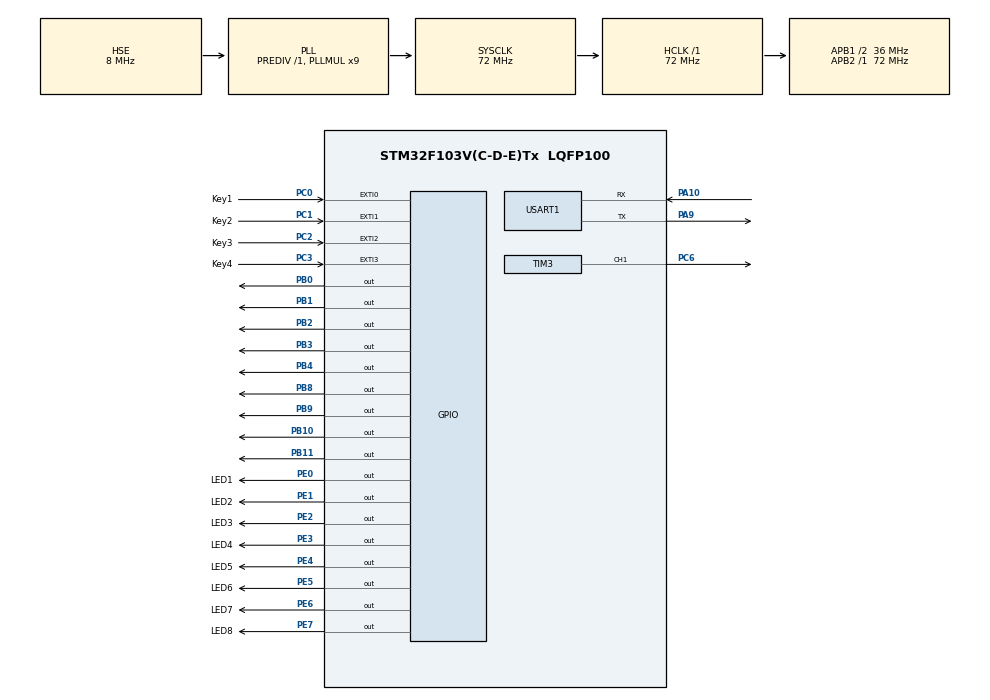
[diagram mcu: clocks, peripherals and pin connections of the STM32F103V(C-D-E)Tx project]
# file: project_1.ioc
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Dma.Request0=USART1_RX
Dma.Request1=USART1_TX
Dma.USART1_RX.0.Direction=DMA_PERIPH_TO_MEMORY
Dma.USART1_RX.0.Instance=DMA1_Channel5
Dma.USART1_RX.0.MemDataAlignment=DMA_MDATAALIGN_BYTE
Dma.USART1_RX.0.MemInc=DMA_MINC_ENABLE
Dma.USART1_RX.0.Mode=DMA_NORMAL
Dma.USART1_RX.0.PeriphDataAlignment=DMA_PDATAALIGN_BYTE
Dma.USART1_RX.0.PeriphInc=DMA_PINC_DISABLE
Dma.USART1_RX.0.Priority=DMA_PRIORITY_MEDIUM
Dma.USART1_TX.1.Direction=DMA_MEMORY_TO_PERIPH
Dma.USART1_TX.1.Instance=DMA1_Channel4
Dma.USART1_TX.1.MemDataAlignment=DMA_MDATAALIGN_BYTE
Dma.USART1_TX.1.MemInc=DMA_MINC_ENABLE
Dma.USART1_TX.1.Mode=DMA_NORMAL
Dma.USART1_TX.1.PeriphDataAlignment=DMA_PDATAALIGN_BYTE
Dma.USART1_TX.1.PeriphInc=DMA_PINC_DISABLE
Dma.USART1_TX.1.Priority=DMA_PRIORITY_MEDIUM
Mcu.Family=STM32F1
Mcu.Name=STM32F103V(C-D-E)Tx
Mcu.Package=LQFP100
NVIC.DMA1_Channel4_IRQn=true\:1\:1\:true\:false\:true\:false\:true\:true
NVIC.DMA1_Channel5_IRQn=true\:1\:1\:true\:false\:true\:false\:true\:true
NVIC.EXTI0_IRQn=true\:2\:2\:true\:false\:true\:true\:true\:true
NVIC.EXTI1_IRQn=true\:2\:2\:true\:false\:true\:true\:true\:true
NVIC.EXTI2_IRQn=true\:2\:2\:true\:false\:true\:true\:true\:true
NVIC.EXTI3_IRQn=true\:2\:2\:true\:false\:true\:true\:true\:true
NVIC.PriorityGroup=NVIC_PRIORITYGROUP_2
NVIC.TIM3_IRQn=true\:3\:3\:true\:false\:true\:true\:true\:true
NVIC.USART1_IRQn=true\:2\:2\:true\:false\:true\:true\:true\:true
OSC_IN.Mode=HSE-External-Oscillator
OSC_IN.Signal=RCC_OSC_IN
OSC_OUT.Mode=HSE-External-Oscillator
OSC_OUT.Signal=RCC_OSC_OUT
PA10.Mode=Asynchronous
PA10.Signal=USART1_RX
PA13.Mode=Serial_Wire
PA13.Signal=SYS_JTMS-SWDIO
PA14.Mode=Serial_Wire
PA14.Signal=SYS_JTCK-SWCLK
PA9.Mode=Asynchronous
PA9.Signal=USART1_TX
PB0.GPIO_Speed=GPIO_SPEED_FREQ_HIGH
PB0.Signal=GPIO_Output
PB1.GPIO_Speed=GPIO_SPEED_FREQ_HIGH
PB1.Signal=GPIO_Output
PB10.GPIO_Speed=GPIO_SPEED_FREQ_HIGH
PB10.Signal=GPIO_Output
PB11.GPIO_Speed=GPIO_SPEED_FREQ_HIGH
PB11.Signal=GPIO_Output
PB2.GPIO_Speed=GPIO_SPEED_FREQ_HIGH
PB2.Signal=GPIO_Output
PB3.GPIO_Speed=GPIO_SPEED_FREQ_HIGH
PB3.Signal=GPIO_Output
PB4.GPIO_Speed=GPIO_SPEED_FREQ_HIGH
PB4.Signal=GPIO_Output
PB8.GPIO_Speed=GPIO_SPEED_FREQ_HIGH
PB8.Signal=GPIO_Output
PB9.GPIO_Speed=GPIO_SPEED_FREQ_HIGH
PB9.Signal=GPIO_Output
PC0.GPIO_Label=Key1
PC0.GPIO_ModeDefaultEXTI=GPIO_MODE_IT_FALLING
PC0.Signal=GPXTI0
PC1.GPIO_Label=Key2
PC1.GPIO_ModeDefaultEXTI=GPIO_MODE_IT_FALLING
PC1.Signal=GPXTI1
PC2.GPIO_Label=Key3
PC2.GPIO_ModeDefaultEXTI=GPIO_MODE_IT_FALLING
PC2.Signal=GPXTI2
PC3.GPIO_Label=Key4
PC3.GPIO_ModeDefaultEXTI=GPIO_MODE_IT_FALLING
PC3.Signal=GPXTI3
PC6.Signal=S_TIM3_CH1
PE0.GPIO_Label=LED1
PE0.Signal=GPIO_Output
PE1.GPIO_Label=LED2
PE1.Signal=GPIO_Output
PE2.GPIO_Label=LED3
PE2.Signal=GPIO_Output
PE3.GPIO_Label=LED4
PE3.Signal=GPIO_Output
PE4.GPIO_Label=LED5
PE4.Signal=GPIO_Output
PE5.GPIO_Label=LED6
PE5.Signal=GPIO_Output
PE6.GPIO_Label=LED7
PE6.Signal=GPIO_Output
PE7.GPIO_Label=LED8
PE7.Signal=GPIO_Output
ProjectManager.HeapSize=0x200
ProjectManager.StackSize=0x400
ProjectManager.TargetToolchain=STM32CubeIDE
RCC.AHBFreq_Value=72000000
RCC.APB1CLKDivider=RCC_HCLK_DIV2
RCC.APB1Freq_Value=36000000
RCC.APB1TimFreq_Value=72000000
RCC.APB2Freq_Value=72000000
RCC.APB2TimFreq_Value=72000000
RCC.HCLKFreq_Value=72000000
RCC.PLLMUL=RCC_PLL_MUL9
RCC.PLLSourceVirtual=RCC_PLLSOURCE_HSE
RCC.SYSCLKFreq_VALUE=72000000
RCC.SYSCLKSource=RCC_SYSCLKSOURCE_PLLCLK
RCC.USBFreq_Value=72000000
SH.S_TIM3_CH1.0=TIM3_CH1,PWM Generation1 CH1
TIM3.Channel-PWM\ Generation1\ CH1=TIM_CHANNEL_1
TIM3.Period=999
TIM3.Prescaler=71
USART1.VirtualMode=VM_ASYNC
VP_TIM3_VS_ClockSourceINT.Mode=Internal
board=custom

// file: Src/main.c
/* USER CODE BEGIN Header */
/**
  ******************************************************************************
  * @file           : main.c
  * @brief          : Main program body
  ******************************************************************************
  * @attention
  *
  * Copyright (c) 2023 STMicroelectronics.
  * All rights reserved.
  *
  * This software is licensed under terms that can be found in the LICENSE file
  * in the root directory of this software component.
  * If no LICENSE file comes with this software, it is provided AS-IS.
  *
  ******************************************************************************
  */
/* USER CODE END Header */
#include "main.h"
#include "dma.h"
#include "tim.h"
#include "usart.h"
#include "gpio.h"

/* USER CODE BEGIN Includes */
#include "bsp_ili9341_lcd.h"
/* USER CODE END Includes */

/* USER CODE BEGIN PD */
struct LED_Dsp_State main_LED_dsp_state;
/* USER CODE END PD */

/* USER CODE BEGIN PM */
uint16_t LED_array[] = {LED4_Pin|LED5_Pin, LED3_Pin | LED6_Pin, LED2_Pin | LED7_Pin, LED1_Pin | LED8_Pin};
/* USER CODE END PM */

/* USER CODE BEGIN PV */
uint8_t RxBuffer[LENGTH];
uint8_t RecCount = 0;
uint8_t  RxFlag = 0;
uint32_t TIM_counter = 0;
uint8_t Key_Num4 = 0;
/* USER CODE END PV */

void SystemClock_Config(void);

int main(void)
{
  /* USER CODE BEGIN 1 */
    LCD_Init();
  /* USER CODE END 1 */

  /* MCU Configuration--------------------------------------------------------*/

  /* Reset of all peripherals, Initializes the Flash interface and the Systick. */
  HAL_Init();

  /* Configure the system clock */
  SystemClock_Config();

  /* Initialize all configured peripherals */
  MX_GPIO_Init();
  MX_DMA_Init();
  MX_TIM3_Init();
  MX_USART1_UART_Init();
  /* USER CODE BEGIN 2 */
    __HAL_UART_CLEAR_IDLEFLAG(&huart1);
    __HAL_UART_ENABLE_IT(&huart1, UART_IT_IDLE);
    HAL_UART_Receive_DMA(&huart1, (uint8_t *) RxBuffer, LENGTH);
    HAL_TIM_Base_Start_IT(&htim3);

//    HAL_GPIO_WritePin()
  /* USER CODE END 2 */

  /* Infinite loop */
  /* USER CODE BEGIN WHILE */
  while (1)
  {
      LCD_Clear(GREEN);
    /* USER CODE END WHILE */

    /* USER CODE BEGIN 3 */
  switch (Key_Num4) {
      case 1:
          Display_gray();
          Key_Num4 = 0;
          break;

      case 2:
          if(main_LED_dsp_state.flag1_LED_state_dsp){
              Flow_LED_UART();
              main_LED_dsp_state.flag1_LED_state_dsp = 0;
          } else{
              Flow_LED();
          }
          Key_Num4 = 0;
          break;
      default:
          Beep_Alarm();
          break;
  }

  }
  /* USER CODE END 3 */
}

void SystemClock_Config(void)
{
  RCC_OscInitTypeDef RCC_OscInitStruct = {0};
  RCC_ClkInitTypeDef RCC_ClkInitStruct = {0};

  /** Initializes the RCC Oscillators according to the specified parameters
  * in the RCC_OscInitTypeDef structure.
  */
  RCC_OscInitStruct.OscillatorType = RCC_OSCILLATORTYPE_HSE;
  RCC_OscInitStruct.HSEState = RCC_HSE_ON;
  RCC_OscInitStruct.HSEPredivValue = RCC_HSE_PREDIV_DIV1;
  RCC_OscInitStruct.HSIState = RCC_HSI_ON;
  RCC_OscInitStruct.PLL.PLLState = RCC_PLL_ON;
  RCC_OscInitStruct.PLL.PLLSource = RCC_PLLSOURCE_HSE;
  RCC_OscInitStruct.PLL.PLLMUL = RCC_PLL_MUL9;
  if (HAL_RCC_OscConfig(&RCC_OscInitStruct) != HAL_OK)
  {
    Error_Handler();
  }

  /** Initializes the CPU, AHB and APB buses clocks
  */
  RCC_ClkInitStruct.ClockType = RCC_CLOCKTYPE_HCLK|RCC_CLOCKTYPE_SYSCLK
                              |RCC_CLOCKTYPE_PCLK1|RCC_CLOCKTYPE_PCLK2;
  RCC_ClkInitStruct.SYSCLKSource = RCC_SYSCLKSOURCE_PLLCLK;
  RCC_ClkInitStruct.AHBCLKDivider = RCC_SYSCLK_DIV1;
  RCC_ClkInitStruct.APB1CLKDivider = RCC_HCLK_DIV2;
  RCC_ClkInitStruct.APB2CLKDivider = RCC_HCLK_DIV1;

  if (HAL_RCC_ClockConfig(&RCC_ClkInitStruct, FLASH_LATENCY_2) != HAL_OK)
  {
    Error_Handler();
  }
}

void Error_Handler(void)
{
  __disable_irq();
  while (1)
  {
  }
}
